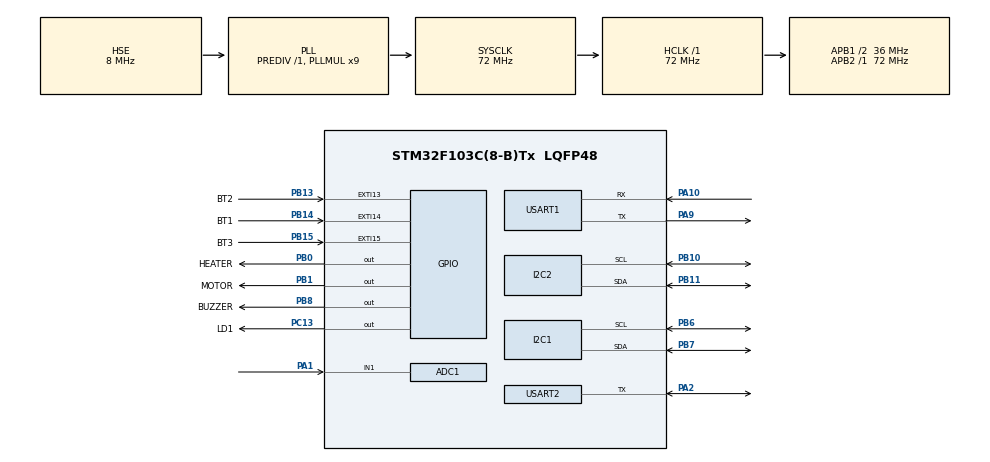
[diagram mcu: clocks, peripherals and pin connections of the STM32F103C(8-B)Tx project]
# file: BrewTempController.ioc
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ADC1.Channel-1\#ChannelRegularConversion=ADC_CHANNEL_1
ADC1.NbrOfConversionFlag=1
ADC1.Rank-1\#ChannelRegularConversion=1
ADC1.SamplingTime-1\#ChannelRegularConversion=ADC_SAMPLETIME_1CYCLE_5
ADC1.master=1
Mcu.Family=STM32F1
Mcu.Name=STM32F103C(8-B)Tx
Mcu.Package=LQFP48
NVIC.EXTI15_10_IRQn=true\:0\:0\:false\:false\:true\:true\:true\:true
NVIC.PriorityGroup=NVIC_PRIORITYGROUP_4
NVIC.TIM1_UP_IRQn=true\:0\:0\:false\:false\:true\:true\:true\:true
NVIC.TIM2_IRQn=true\:0\:0\:false\:false\:true\:true\:true\:true
PA1.Signal=ADCx_IN1
PA10.Mode=Asynchronous
PA10.Signal=USART1_RX
PA2.Mode=Half_duplex(single_wire_mode)
PA2.Signal=USART2_TX
PA9.Mode=Asynchronous
PA9.Signal=USART1_TX
PB0.GPIO_Label=HEATER
PB0.Signal=GPIO_Output
PB1.GPIO_Label=MOTOR
PB1.Signal=GPIO_Output
PB10.Mode=I2C
PB10.Signal=I2C2_SCL
PB11.Mode=I2C
PB11.Signal=I2C2_SDA
PB13.GPIO_Label=BT2
PB13.GPIO_ModeDefaultEXTI=GPIO_MODE_IT_FALLING
PB13.GPIO_PuPd=GPIO_PULLUP
PB13.Signal=GPXTI13
PB14.GPIO_Label=BT1
PB14.GPIO_ModeDefaultEXTI=GPIO_MODE_IT_FALLING
PB14.GPIO_PuPd=GPIO_PULLUP
PB14.Signal=GPXTI14
PB15.GPIO_Label=BT3
PB15.GPIO_ModeDefaultEXTI=GPIO_MODE_IT_FALLING
PB15.GPIO_PuPd=GPIO_PULLUP
PB15.Signal=GPXTI15
PB6.Mode=I2C
PB6.Signal=I2C1_SCL
PB7.Mode=I2C
PB7.Signal=I2C1_SDA
PB8.GPIO_Label=BUZZER
PB8.Signal=GPIO_Output
PC13-TAMPER-RTC.GPIO_Label=LD1
PC13-TAMPER-RTC.PinState=GPIO_PIN_SET
PC13-TAMPER-RTC.Signal=GPIO_Output
PD0-OSC_IN.Mode=HSE-External-Oscillator
PD0-OSC_IN.Signal=RCC_OSC_IN
PD1-OSC_OUT.Mode=HSE-External-Oscillator
PD1-OSC_OUT.Signal=RCC_OSC_OUT
ProjectManager.HeapSize=0x200
ProjectManager.StackSize=0x400
ProjectManager.TargetToolchain=STM32CubeIDE
RCC.ADCPresc=RCC_ADCPCLK2_DIV6
RCC.AHBFreq_Value=72000000
RCC.APB1CLKDivider=RCC_HCLK_DIV2
RCC.APB1Freq_Value=36000000
RCC.APB1TimFreq_Value=72000000
RCC.APB2Freq_Value=72000000
RCC.APB2TimFreq_Value=72000000
RCC.HCLKFreq_Value=72000000
RCC.PLLMUL=RCC_PLL_MUL9
RCC.PLLSourceVirtual=RCC_PLLSOURCE_HSE
RCC.SYSCLKFreq_VALUE=72000000
RCC.SYSCLKSource=RCC_SYSCLKSOURCE_PLLCLK
RCC.USBFreq_Value=72000000
SH.ADCx_IN1.0=ADC1_IN1,IN1
TIM1.Period=999
TIM1.Prescaler=71
TIM2.Period=49999
TIM2.Prescaler=143
USART1.VirtualMode=VM_ASYNC
USART2.BaudRate=9600
USART2.VirtualMode=VM_ASYNC
VP_SYS_VS_ND.Mode=No_Debug
VP_TIM1_VS_ClockSourceINT.Mode=Internal
VP_TIM2_VS_ClockSourceINT.Mode=Internal
board=custom

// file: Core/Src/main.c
/* USER CODE BEGIN Header */
/**
 ******************************************************************************
 * @file           : main.c
 * @brief          : Main program body
 ******************************************************************************
 * @attention
 *
 * Copyright (c) 2025 STMicroelectronics.
 * All rights reserved.
 *
 * This software is licensed under terms that can be found in the LICENSE file
 * in the root directory of this software component.
 * If no LICENSE file comes with this software, it is provided AS-IS.
 *
 ******************************************************************************
 */
/* USER CODE END Header */
#include "main.h"
#include "adc.h"
#include "i2c.h"
#include "tim.h"
#include "usart.h"
#include "gpio.h"

/* USER CODE BEGIN Includes */
#include "ds18b20.h"
#include "ssd1306.h"
#include "ssd1306_fonts.h"
#include "menu.h"
#include "beer.h"
#include "timer.h"
#include "actuators.h"
/* USER CODE END Includes */

/* USER CODE BEGIN PV */
volatile uint8_t readTempFlag = 0;
//volatile uint8_t criticalMinTempFlag = 0;
//volatile uint8_t criticalMaxTempFlag = 0;

volatile uint8_t choosingEnabled = 0;
volatile uint32_t choosingTimerTicks = 0;
/* USER CODE END PV */

void SystemClock_Config(void);

int main(void) {

	/* MCU Configuration--------------------------------------------------------*/

	/* Reset of all peripherals, Initializes the Flash interface and the Systick. */
	HAL_Init();

	/* Configure the system clock */
	SystemClock_Config();

	/* Initialize all configured peripherals */
	MX_GPIO_Init();
	MX_USART1_UART_Init();
	MX_TIM1_Init();
	MX_I2C1_Init();
	MX_USART2_UART_Init();
	MX_ADC1_Init();
	MX_I2C2_Init();
	MX_TIM2_Init();
	/* USER CODE BEGIN 2 */
	Actuators_MotorStop();

	HAL_TIM_Base_Start_IT(&htim1);
	ssd1306_Init();

	HAL_GPIO_WritePin(LD1_GPIO_Port, LD1_Pin, GPIO_PIN_RESET);
	UART_Print("Initialization done!");
	/* USER CODE END 2 */

	/* Infinite loop */
	/* USER CODE BEGIN WHILE */
	ssd1306_Fill(Black);
	MENU_DisplayOptions();
	while (1) {
		/* USER CODE END WHILE */

		/* USER CODE BEGIN 3 */
		if (timerFlag250) {
			timerFlag250 = 0;
			Actuators_BuzzerToggleFast();
		}
		if (timerFlag500) {
			timerFlag500 = 0;
			if (choosingEnabled) {
				if (TIM1_GetTicks() - choosingTimerTicks >= 10000) {
					choosingEnabled = 0;
					MENU_DisplayOptions();
				}
			}
			Actuators_BuzzerToggle();
		}
		if (timerFlag1000) {
			timerFlag1000 = 0;
			HAL_GPIO_TogglePin(LD1_GPIO_Port, LD1_Pin);
			if (menuConfig.window == MENU_MAIN) {

				if (Timer_Enable()) {
					uint32_t baseSeconds = currentBeerRest->minutes * 60;
					uint32_t totalSeconds = Timer_GetTotalSeconds();
					if (baseSeconds <= totalSeconds) {
						uint8_t done = BEER_NextRest();
						MENU_DisplayOptions();
						if (done) {
							Timer_Stop();
							Actuators_Stop();
							doneFlag = 1;
							MENU_DisplayEndMessage();
							continue;
						}
						Timer_Start();
						baseSeconds = currentBeerRest->minutes * 60;
						totalSeconds = Timer_GetTotalSeconds();
					}
					totalSeconds = baseSeconds - totalSeconds;
					uint8_t minutes = totalSeconds / 60;
					uint8_t seconds = totalSeconds % 60;
					MENU_DisplayTimer(minutes, seconds);
				}

				if (readTempFlag) {
					readTempFlag = 0;
					int16_t temp = DS18B20_GetTemp_Int(NULL);
					if (temp <= -200) {
						UART_Print("Error occurred during reading temperature! ");
					}
					UART_Printf("T: %d\n", temp);
					MENU_DisplayTemperature(temp);

					if (!doneFlag) {
						Actuators_TempControl(temp);
					}
				}
				if (!readTempFlag) {
					HAL_StatusTypeDef check = DS18B20_StartMeasure(NULL);
					if (check != HAL_OK) {
						UART_Print("Error occurred during temperature measurement!");
					} else {
						readTempFlag = 1;
					}
				}
			}
		}
		if (timerFlag2000) {
			timerFlag2000 = 0;
		}
		if (bt1Flag) {
			bt1Flag = 0;
			if (choosingEnabled) {
				choosingEnabled = 0;
				MENU_SelectedOptionHandler();
			} else {
				choosingEnabled = 1;
				choosingTimerTicks = TIM1_GetTicks();
				MENU_HighlightSelectedOption();
			}
		}
		if (bt2Flag) {
			bt2Flag = 0;
			if (choosingEnabled) {
				MENU_SetNextOption();
			} else {
				choosingEnabled = 1;
			}
			choosingTimerTicks = TIM1_GetTicks();
			MENU_HighlightSelectedOption();
		}
		if (bt3Flag) {
			bt3Flag = 0;
			Actuators_MotorToggle();
		}
	}
	/* USER CODE END 3 */
}

void SystemClock_Config(void) {
	RCC_OscInitTypeDef RCC_OscInitStruct = { 0 };
	RCC_ClkInitTypeDef RCC_ClkInitStruct = { 0 };
	RCC_PeriphCLKInitTypeDef PeriphClkInit = { 0 };

	/** Initializes the RCC Oscillators according to the specified parameters
	 * in the RCC_OscInitTypeDef structure.
	 */
	RCC_OscInitStruct.OscillatorType = RCC_OSCILLATORTYPE_HSE;
	RCC_OscInitStruct.HSEState = RCC_HSE_ON;
	RCC_OscInitStruct.HSEPredivValue = RCC_HSE_PREDIV_DIV1;
	RCC_OscInitStruct.HSIState = RCC_HSI_ON;
	RCC_OscInitStruct.PLL.PLLState = RCC_PLL_ON;
	RCC_OscInitStruct.PLL.PLLSource = RCC_PLLSOURCE_HSE;
	RCC_OscInitStruct.PLL.PLLMUL = RCC_PLL_MUL9;
	if (HAL_RCC_OscConfig(&RCC_OscInitStruct) != HAL_OK) {
		Error_Handler();
	}

	/** Initializes the CPU, AHB and APB buses clocks
	 */
	RCC_ClkInitStruct.ClockType = RCC_CLOCKTYPE_HCLK | RCC_CLOCKTYPE_SYSCLK | RCC_CLOCKTYPE_PCLK1 | RCC_CLOCKTYPE_PCLK2;
	RCC_ClkInitStruct.SYSCLKSource = RCC_SYSCLKSOURCE_PLLCLK;
	RCC_ClkInitStruct.AHBCLKDivider = RCC_SYSCLK_DIV1;
	RCC_ClkInitStruct.APB1CLKDivider = RCC_HCLK_DIV2;
	RCC_ClkInitStruct.APB2CLKDivider = RCC_HCLK_DIV1;

	if (HAL_RCC_ClockConfig(&RCC_ClkInitStruct, FLASH_LATENCY_2) != HAL_OK) {
		Error_Handler();
	}
	PeriphClkInit.PeriphClockSelection = RCC_PERIPHCLK_ADC;
	PeriphClkInit.AdcClockSelection = RCC_ADCPCLK2_DIV6;
	if (HAL_RCCEx_PeriphCLKConfig(&PeriphClkInit) != HAL_OK) {
		Error_Handler();
	}
}

void Error_Handler(void) {
	__disable_irq();
	while (1) {
	}
}
